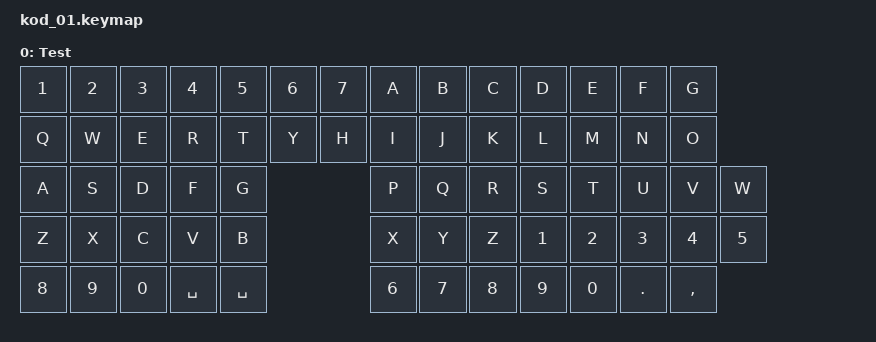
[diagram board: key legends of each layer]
#include <behaviors.dtsi>
#include <dt-bindings/zmk/keys.h>
#include "../../../config/keymap.keymap"

/ {
    keymap {
        compatible = "zmk,keymap";

        default_layer {
            display-name = "Test";
            bindings = <
// 左手側（シンプルな数字とQ-P）                                    右手側（位置が分かりやすい文字）
//  1段目
    &kp N1    &kp N2    &kp N3    &kp N4    &kp N5    &kp N6    &kp N7        &kp A     &kp B     &kp C     &kp D     &kp E     &kp F     &kp G
//  2段目
    &kp Q     &kp W     &kp E     &kp R     &kp T     &kp Y                   &kp H     &kp I     &kp J     &kp K     &kp L     &kp M     &kp N     &kp O
//  3段目
    &kp A     &kp S     &kp D     &kp F     &kp G                             &kp P     &kp Q     &kp R     &kp S     &kp T     &kp U     &kp V     &kp W
//  4段目
    &kp Z     &kp X     &kp C     &kp V     &kp B                             &kp X     &kp Y     &kp Z     &kp N1    &kp N2    &kp N3    &kp N4    &kp N5
//  5段目
    &kp N8    &kp N9    &kp N0    &kp SPACE &kp SPACE                         &kp N6    &kp N7    &kp N8    &kp N9    &kp N0    &kp DOT   &kp COMMA
            >;
        };
    };
};
